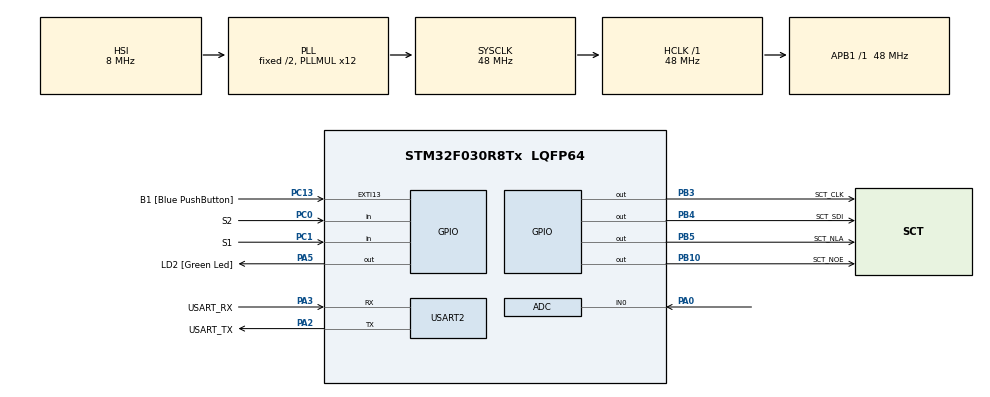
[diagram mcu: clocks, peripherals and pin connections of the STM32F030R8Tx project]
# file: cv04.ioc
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ADC.ContinuousConvMode=ENABLE
ADC.Overrun=ADC_OVR_DATA_OVERWRITTEN
ADC.SamplingTime=ADC_SAMPLETIME_239CYCLES_5
Mcu.Family=STM32F0
Mcu.Name=STM32F030R8Tx
Mcu.Package=LQFP64
NVIC.ADC1_IRQn=true\:0\:0\:false\:false\:true\:true\:true\:true
PA0.Mode=IN0
PA0.Signal=ADC_IN0
PA13.GPIO_Label=TMS
PA13.Mode=Serial_Wire
PA13.Signal=SYS_SWDIO
PA14.GPIO_Label=TCK
PA14.Mode=Serial_Wire
PA14.Signal=SYS_SWCLK
PA2.GPIO_Label=USART_TX
PA2.GPIO_Mode=GPIO_MODE_AF_PP
PA2.GPIO_PuPd=GPIO_NOPULL
PA2.GPIO_Speed=GPIO_SPEED_FREQ_LOW
PA2.Mode=Asynchronous
PA2.Signal=USART2_TX
PA3.GPIO_Label=USART_RX
PA3.GPIO_Mode=GPIO_MODE_AF_PP
PA3.GPIO_PuPd=GPIO_NOPULL
PA3.GPIO_Speed=GPIO_SPEED_FREQ_LOW
PA3.Mode=Asynchronous
PA3.Signal=USART2_RX
PA5.GPIO_Label=LD2 [Green Led]
PA5.GPIO_Mode=GPIO_MODE_OUTPUT_PP
PA5.GPIO_PuPd=GPIO_NOPULL
PA5.GPIO_Speed=GPIO_SPEED_FREQ_LOW
PA5.Signal=GPIO_Output
PB10.GPIO_Label=SCT_NOE
PB10.Signal=GPIO_Output
PB3.GPIO_Label=SCT_CLK
PB3.Signal=GPIO_Output
PB4.GPIO_Label=SCT_SDI
PB4.Signal=GPIO_Output
PB5.GPIO_Label=SCT_NLA
PB5.Signal=GPIO_Output
PC0.GPIO_Label=S2
PC0.GPIO_PuPd=GPIO_PULLUP
PC0.Signal=GPIO_Input
PC1.GPIO_Label=S1
PC1.GPIO_PuPd=GPIO_PULLUP
PC1.Signal=GPIO_Input
PC13.GPIO_Label=B1 [Blue PushButton]
PC13.GPIO_ModeDefaultEXTI=GPIO_MODE_IT_FALLING
PC13.Signal=GPXTI13
PC14-OSC32_IN.Mode=LSE-External-Oscillator
PC14-OSC32_IN.Signal=RCC_OSC32_IN
PC15-OSC32_OUT.Mode=LSE-External-Oscillator
PC15-OSC32_OUT.Signal=RCC_OSC32_OUT
PF0-OSC_IN.Mode=HSE-External-Clock-Source
PF0-OSC_IN.Signal=RCC_OSC_IN
PF1-OSC_OUT.Signal=RCC_OSC_OUT
ProjectManager.HeapSize=0x200
ProjectManager.StackSize=0x400
ProjectManager.TargetToolchain=STM32CubeIDE
RCC.AHBFreq_Value=48000000
RCC.APB1Freq_Value=48000000
RCC.APB1TimFreq_Value=48000000
RCC.HCLKFreq_Value=48000000
RCC.PLLMUL=RCC_PLL_MUL12
RCC.SYSCLKFreq_VALUE=48000000
RCC.SYSCLKSource=RCC_SYSCLKSOURCE_PLLCLK
USART2.VirtualMode-Asynchronous=VM_ASYNC
VP_ADC_TempSens_Input.Mode=IN-TempSens
VP_ADC_Vref_Input.Mode=IN-Vrefint
board=NUCLEO-F030R8

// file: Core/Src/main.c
/* USER CODE BEGIN Header */
/**
 ******************************************************************************
 * @file           : main.c
 * @brief          : Main program body
 ******************************************************************************
 * @attention
 *
 * Copyright (c) 2022 STMicroelectronics.
 * All rights reserved.
 *
 * This software is licensed under terms that can be found in the LICENSE file
 * in the root directory of this software component.
 * If no LICENSE file comes with this software, it is provided AS-IS.
 *
 ******************************************************************************
 */
/* USER CODE END Header */
#include "main.h"

/* USER CODE BEGIN Includes */
#include "sct.h"
/* USER CODE END Includes */

/* USER CODE BEGIN PD */
#define DISPLAY_PERIOD 150
#define ADC_Q 12
#define TEMP110_CAL_ADDR ((uint16_t*) ((uint32_t) 0x1FFFF7C2))
#define TEMP30_CAL_ADDR ((uint16_t*) ((uint32_t) 0x1FFFF7B8))
#define VREFINT_CAL_ADDR ((uint16_t*) ((uint32_t) 0x1FFFF7BA))
/* USER CODE END PD */

ADC_HandleTypeDef hadc;

UART_HandleTypeDef huart2;

/* USER CODE BEGIN PV */
static volatile uint32_t raw_pot;
static volatile uint32_t raw_temp;
static volatile uint32_t raw_volt;
static enum { SHOW_POT, SHOW_VOLT, SHOW_TEMP } state = SHOW_POT;
/* USER CODE END PV */

void SystemClock_Config(void);
static void MX_GPIO_Init(void);
static void MX_USART2_UART_Init(void);
static void MX_ADC_Init(void);

/* USER CODE BEGIN 0 */
void HAL_ADC_ConvCpltCallback(ADC_HandleTypeDef *hadc) {

	static uint8_t channel;

	if (channel == 0) {
		static uint32_t avg_pot;
		raw_pot = avg_pot >> ADC_Q;
		avg_pot -= raw_pot;
		avg_pot += HAL_ADC_GetValue(hadc); /*exponential repeating*/
	} else if (channel == 1) {
		raw_temp = HAL_ADC_GetValue(hadc); /*temperature value*/
	} else if (channel == 2) {
		raw_volt = HAL_ADC_GetValue(hadc); /*voltage value*/
	}

	if (__HAL_ADC_GET_FLAG(hadc, ADC_FLAG_EOS))
		channel = 0;
	else
		channel++;

}

/* USER CODE END 0 */

int main(void)
{

  /* MCU Configuration--------------------------------------------------------*/

  /* Reset of all peripherals, Initializes the Flash interface and the Systick. */
  HAL_Init();

  /* Configure the system clock */
  SystemClock_Config();

  /* Initialize all configured peripherals */
  MX_GPIO_Init();
  MX_USART2_UART_Init();
  MX_ADC_Init();
  /* USER CODE BEGIN 2 */
	sct_init();

	HAL_ADCEx_Calibration_Start(&hadc);
	HAL_ADC_Start_IT(&hadc);
  /* USER CODE END 2 */

  /* Infinite loop */
  /* USER CODE BEGIN WHILE */
	while (1) {
		/*static uint32_t lastDisplayTicks = 0;*/

    /* USER CODE END WHILE */

    /* USER CODE BEGIN 3 */
		/*if (HAL_GetTick() >= lastDisplayTicks + DISPLAY_PERIOD) {
			lastDisplayTicks = HAL_GetTick();
		}*/

		static uint32_t delay;

		if (state == SHOW_POT) {
			sct_value(raw_pot * 500 / 4096, raw_pot * 9 / 4096);
		} else if (state == SHOW_VOLT) {
			uint32_t voltage = 330 * (*VREFINT_CAL_ADDR) / raw_volt;
			sct_value(voltage, voltage * 9 / 1000);
		} else if (state == SHOW_TEMP) {
			int32_t temperature = (raw_temp - (int32_t) (*TEMP30_CAL_ADDR));
			temperature = temperature * (int32_t) (110 - 30);
			temperature = temperature
					/ (int32_t) (*TEMP110_CAL_ADDR - *TEMP30_CAL_ADDR);
			temperature = temperature + 30;
			sct_value(temperature, temperature * 9 / 100);
		}

		if (HAL_GPIO_ReadPin(S2_GPIO_Port, S2_Pin) == 0) {	//read button S2 - voltage
			state = SHOW_VOLT;
			delay = HAL_GetTick();
		} else if (HAL_GPIO_ReadPin(S1_GPIO_Port, S1_Pin) == 0) { //read button S1 - temperature
			state = SHOW_TEMP;
			delay = HAL_GetTick();
		}
		if (HAL_GetTick() > 1000 + delay) {			//timer for trimer to getting back
			state = SHOW_POT;
		}

	}
  /* USER CODE END 3 */
}

void SystemClock_Config(void)
{
  RCC_OscInitTypeDef RCC_OscInitStruct = {0};
  RCC_ClkInitTypeDef RCC_ClkInitStruct = {0};

  /** Initializes the RCC Oscillators according to the specified parameters
  * in the RCC_OscInitTypeDef structure.
  */
  RCC_OscInitStruct.OscillatorType = RCC_OSCILLATORTYPE_HSI|RCC_OSCILLATORTYPE_HSI14;
  RCC_OscInitStruct.HSIState = RCC_HSI_ON;
  RCC_OscInitStruct.HSI14State = RCC_HSI14_ON;
  RCC_OscInitStruct.HSICalibrationValue = RCC_HSICALIBRATION_DEFAULT;
  RCC_OscInitStruct.HSI14CalibrationValue = 16;
  RCC_OscInitStruct.PLL.PLLState = RCC_PLL_ON;
  RCC_OscInitStruct.PLL.PLLSource = RCC_PLLSOURCE_HSI;
  RCC_OscInitStruct.PLL.PLLMUL = RCC_PLL_MUL12;
  RCC_OscInitStruct.PLL.PREDIV = RCC_PREDIV_DIV1;
  if (HAL_RCC_OscConfig(&RCC_OscInitStruct) != HAL_OK)
  {
    Error_Handler();
  }

  /** Initializes the CPU, AHB and APB buses clocks
  */
  RCC_ClkInitStruct.ClockType = RCC_CLOCKTYPE_HCLK|RCC_CLOCKTYPE_SYSCLK
                              |RCC_CLOCKTYPE_PCLK1;
  RCC_ClkInitStruct.SYSCLKSource = RCC_SYSCLKSOURCE_PLLCLK;
  RCC_ClkInitStruct.AHBCLKDivider = RCC_SYSCLK_DIV1;
  RCC_ClkInitStruct.APB1CLKDivider = RCC_HCLK_DIV1;

  if (HAL_RCC_ClockConfig(&RCC_ClkInitStruct, FLASH_LATENCY_1) != HAL_OK)
  {
    Error_Handler();
  }
}

static void MX_ADC_Init(void)
{

  ADC_ChannelConfTypeDef sConfig = {0};

  /** Configure the global features of the ADC (Clock, Resolution, Data Alignment and number of conversion)
  */
  hadc.Instance = ADC1;
  hadc.Init.ClockPrescaler = ADC_CLOCK_ASYNC_DIV1;
  hadc.Init.Resolution = ADC_RESOLUTION_12B;
  hadc.Init.DataAlign = ADC_DATAALIGN_RIGHT;
  hadc.Init.ScanConvMode = ADC_SCAN_DIRECTION_FORWARD;
  hadc.Init.EOCSelection = ADC_EOC_SINGLE_CONV;
  hadc.Init.LowPowerAutoWait = DISABLE;
  hadc.Init.LowPowerAutoPowerOff = DISABLE;
  hadc.Init.ContinuousConvMode = ENABLE;
  hadc.Init.DiscontinuousConvMode = DISABLE;
  hadc.Init.ExternalTrigConv = ADC_SOFTWARE_START;
  hadc.Init.ExternalTrigConvEdge = ADC_EXTERNALTRIGCONVEDGE_NONE;
  hadc.Init.DMAContinuousRequests = DISABLE;
  hadc.Init.Overrun = ADC_OVR_DATA_OVERWRITTEN;
  if (HAL_ADC_Init(&hadc) != HAL_OK)
  {
    Error_Handler();
  }

  /** Configure for the selected ADC regular channel to be converted.
  */
  sConfig.Channel = ADC_CHANNEL_0;
  sConfig.Rank = ADC_RANK_CHANNEL_NUMBER;
  sConfig.SamplingTime = ADC_SAMPLETIME_239CYCLES_5;
  if (HAL_ADC_ConfigChannel(&hadc, &sConfig) != HAL_OK)
  {
    Error_Handler();
  }

  /** Configure for the selected ADC regular channel to be converted.
  */
  sConfig.Channel = ADC_CHANNEL_TEMPSENSOR;
  if (HAL_ADC_ConfigChannel(&hadc, &sConfig) != HAL_OK)
  {
    Error_Handler();
  }

  /** Configure for the selected ADC regular channel to be converted.
  */
  sConfig.Channel = ADC_CHANNEL_VREFINT;
  if (HAL_ADC_ConfigChannel(&hadc, &sConfig) != HAL_OK)
  {
    Error_Handler();
  }

}

static void MX_USART2_UART_Init(void)
{

  huart2.Instance = USART2;
  huart2.Init.BaudRate = 38400;
  huart2.Init.WordLength = UART_WORDLENGTH_8B;
  huart2.Init.StopBits = UART_STOPBITS_1;
  huart2.Init.Parity = UART_PARITY_NONE;
  huart2.Init.Mode = UART_MODE_TX_RX;
  huart2.Init.HwFlowCtl = UART_HWCONTROL_NONE;
  huart2.Init.OverSampling = UART_OVERSAMPLING_16;
  huart2.Init.OneBitSampling = UART_ONE_BIT_SAMPLE_DISABLE;
  huart2.AdvancedInit.AdvFeatureInit = UART_ADVFEATURE_NO_INIT;
  if (HAL_UART_Init(&huart2) != HAL_OK)
  {
    Error_Handler();
  }

}

static void MX_GPIO_Init(void)
{
  GPIO_InitTypeDef GPIO_InitStruct = {0};

  /* GPIO Ports Clock Enable */
  __HAL_RCC_GPIOC_CLK_ENABLE();
  __HAL_RCC_GPIOF_CLK_ENABLE();
  __HAL_RCC_GPIOA_CLK_ENABLE();
  __HAL_RCC_GPIOB_CLK_ENABLE();

  /*Configure GPIO pin Output Level */
  HAL_GPIO_WritePin(GPIOA, GPIO_PIN_5, GPIO_PIN_RESET);

  /*Configure GPIO pin Output Level */
  HAL_GPIO_WritePin(GPIOB, GPIO_PIN_10|GPIO_PIN_3|GPIO_PIN_4|GPIO_PIN_5, GPIO_PIN_RESET);

  /*Configure GPIO pin : PC13 */
  GPIO_InitStruct.Pin = GPIO_PIN_13;
  GPIO_InitStruct.Mode = GPIO_MODE_IT_FALLING;
  GPIO_InitStruct.Pull = GPIO_NOPULL;
  HAL_GPIO_Init(GPIOC, &GPIO_InitStruct);

  /*Configure GPIO pins : PC0 PC1 */
  GPIO_InitStruct.Pin = GPIO_PIN_0|GPIO_PIN_1;
  GPIO_InitStruct.Mode = GPIO_MODE_INPUT;
  GPIO_InitStruct.Pull = GPIO_PULLUP;
  HAL_GPIO_Init(GPIOC, &GPIO_InitStruct);

  /*Configure GPIO pin : PA5 */
  GPIO_InitStruct.Pin = GPIO_PIN_5;
  GPIO_InitStruct.Mode = GPIO_MODE_OUTPUT_PP;
  GPIO_InitStruct.Pull = GPIO_NOPULL;
  GPIO_InitStruct.Speed = GPIO_SPEED_FREQ_LOW;
  HAL_GPIO_Init(GPIOA, &GPIO_InitStruct);

  /*Configure GPIO pins : PB10 PB3 PB4 PB5 */
  GPIO_InitStruct.Pin = GPIO_PIN_10|GPIO_PIN_3|GPIO_PIN_4|GPIO_PIN_5;
  GPIO_InitStruct.Mode = GPIO_MODE_OUTPUT_PP;
  GPIO_InitStruct.Pull = GPIO_NOPULL;
  GPIO_InitStruct.Speed = GPIO_SPEED_FREQ_LOW;
  HAL_GPIO_Init(GPIOB, &GPIO_InitStruct);

}

void Error_Handler(void)
{
	__disable_irq();
	while (1) {
	}
}
